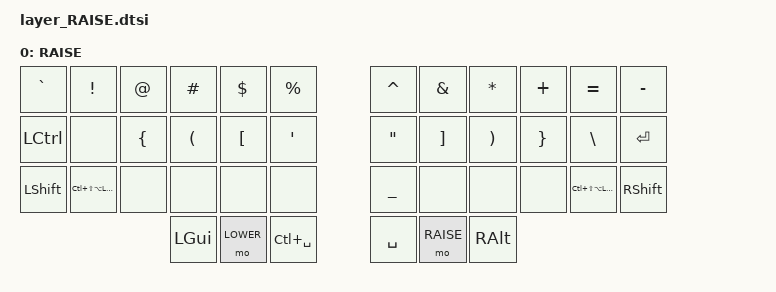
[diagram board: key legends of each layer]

/ {
    keymap {
        compatible = "zmk,keymap";

        raise {
            display-name = "RAISE";
            bindings = <
&kp GRAVE  &kp EXCL              &kp AT          &kp POUND             &kp DOLLAR        &kp PERCENT      &kp CARET          &kp AMPS           &kp STAR               &kp PLUS         &kp EQUAL             &kp MINUS
&kp LCTRL  &none                 &kp LEFT_BRACE  &kp LEFT_PARENTHESIS  &kp LEFT_BRACKET  &kp SQT          &kp DOUBLE_QUOTES  &kp RIGHT_BRACKET  &kp RIGHT_PARENTHESIS  &kp RIGHT_BRACE  &kp BACKSLASH         &kp RET
&kp LSHFT  &kp LC(LS(LA(LGUI)))  &none           &none                 &none             &none            &kp UNDER          &none              &none                  &none            &kp LC(LS(LA(LGUI)))  &kp RSHFT
                                                 &kp LGUI              &mo LOWER         &kp LC(SPACE)    &kp SPACE          &mo RAISE          &kp RALT
            >;
        };
    };
};
